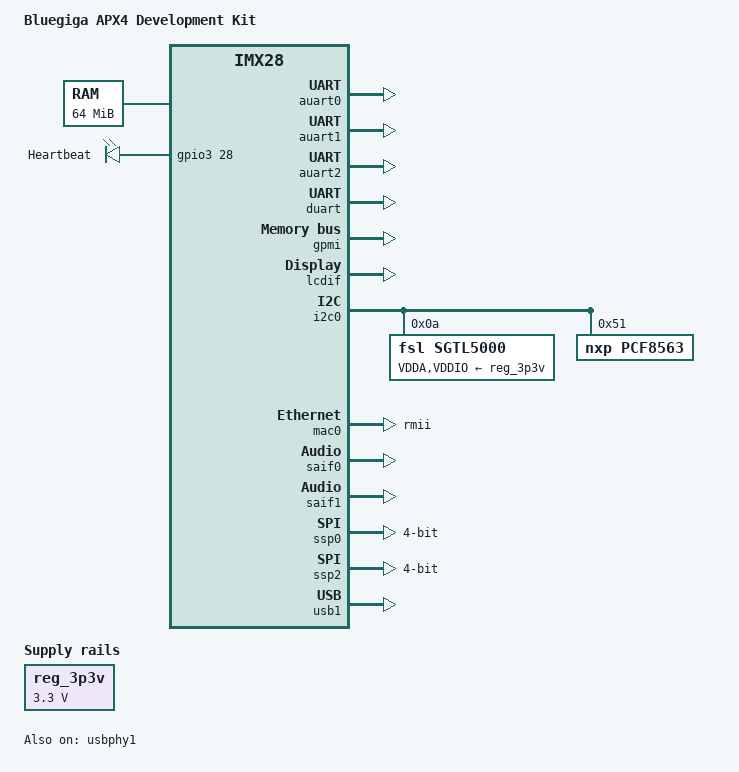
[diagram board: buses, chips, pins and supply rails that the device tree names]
// SPDX-License-Identifier: GPL-2.0
/dts-v1/;
#include "imx28.dtsi"

/ {
	model = "Bluegiga APX4 Development Kit";
	compatible = "bluegiga,apx4devkit", "fsl,imx28";

	memory@40000000 {
		device_type = "memory";
		reg = <0x40000000 0x04000000>;
	};


	reg_3p3v: regulator-3p3v {
		compatible = "regulator-fixed";
		regulator-name = "3P3V";
		regulator-min-microvolt = <3300000>;
		regulator-max-microvolt = <3300000>;
		regulator-always-on;
	};

	sound {
		compatible = "bluegiga,apx4devkit-sgtl5000",
			     "fsl,mxs-audio-sgtl5000";
		model = "apx4devkit-sgtl5000";
		saif-controllers = <&saif0 &saif1>;
		audio-codec = <&sgtl5000>;
	};

	leds {
		compatible = "gpio-leds";

		user {
			label = "Heartbeat";
			gpios = <&gpio3 28 0>;
			linux,default-trigger = "heartbeat";
		};
	};
};

&auart0 {
	pinctrl-names = "default";
	pinctrl-0 = <&auart0_pins_a>;
	status = "okay";
};

&auart1 {
	pinctrl-names = "default";
	pinctrl-0 = <&auart1_2pins_a>;
	status = "okay";
};

&auart2 {
	pinctrl-names = "default";
	pinctrl-0 = <&auart2_2pins_a>;
	status = "okay";
};

&duart {
	pinctrl-names = "default";
	pinctrl-0 = <&duart_pins_a>;
	status = "okay";
};

&gpmi {
	pinctrl-names = "default";
	pinctrl-0 = <&gpmi_pins_a &gpmi_status_cfg>;
	status = "okay";
};

&lcdif {
	pinctrl-names = "default";
	pinctrl-0 = <&lcdif_24bit_pins_a
		     &lcdif_pins_apx4>;
	display = <&display0>;
	status = "okay";

	display0: display0 {
		bits-per-pixel = <32>;
		bus-width = <24>;

		display-timings {
			native-mode = <&timing0>;
			timing0: timing0 {
				clock-frequency = <30000000>;
				hactive = <800>;
				vactive = <480>;
				hback-porch = <88>;
				hfront-porch = <40>;
				vback-porch = <32>;
				vfront-porch = <13>;
				hsync-len = <48>;
				vsync-len = <3>;
				hsync-active = <1>;
				vsync-active = <1>;
				de-active = <1>;
				pixelclk-active = <0>;
			};
		};
	};
};

&i2c0 {
	pinctrl-names = "default";
	pinctrl-0 = <&i2c0_pins_a>;
	status = "okay";

	sgtl5000: codec@a {
		compatible = "fsl,sgtl5000";
		reg = <0x0a>;
		#sound-dai-cells = <0>;
		VDDA-supply = <&reg_3p3v>;
		VDDIO-supply = <&reg_3p3v>;
		clocks = <&saif0>;
	};

	pcf8563: rtc@51 {
		compatible = "nxp,pcf8563";
		reg = <0x51>;
	};
};

&mac0 {
	phy-mode = "rmii";
	pinctrl-names = "default";
	pinctrl-0 = <&mac0_pins_a>;
	status = "okay";
};

&pinctrl {
	pinctrl-names = "default";
	pinctrl-0 = <&hog_pins_a>;

	hog_pins_a: hog@0 {
		reg = <0>;
		fsl,pinmux-ids = <
			MX28_PAD_GPMI_CE1N__GPIO_0_17
			MX28_PAD_GPMI_RDY1__GPIO_0_21
			MX28_PAD_SSP2_MISO__GPIO_2_18
			MX28_PAD_SSP2_SS0__AUART3_TX /* was: 0x2131 - MX28_PAD_SSP2_SS0__GPIO_2_19 */
			MX28_PAD_PWM3__GPIO_3_28
			MX28_PAD_LCD_RESET__GPIO_3_30
			MX28_PAD_JTAG_RTCK__GPIO_4_20
		>;
		fsl,drive-strength = <MXS_DRIVE_4mA>;
		fsl,voltage = <MXS_VOLTAGE_HIGH>;
		fsl,pull-up = <MXS_PULL_DISABLE>;
	};

	lcdif_pins_apx4: lcdif-apx4@0 {
		reg = <0>;
		fsl,pinmux-ids = <
			MX28_PAD_LCD_RD_E__LCD_VSYNC
			MX28_PAD_LCD_WR_RWN__LCD_HSYNC
			MX28_PAD_LCD_RS__LCD_DOTCLK
			MX28_PAD_LCD_CS__LCD_ENABLE
		>;
		fsl,drive-strength = <MXS_DRIVE_4mA>;
		fsl,voltage = <MXS_VOLTAGE_HIGH>;
		fsl,pull-up = <MXS_PULL_DISABLE>;
	};

	mmc2_4bit_pins_apx4: mmc2-4bit-apx4@0 {
		reg = <0>;
		fsl,pinmux-ids = <
			MX28_PAD_SSP0_DATA4__SSP2_D0
			MX28_PAD_SSP0_DATA5__SSP2_D3
			MX28_PAD_SSP0_DATA6__SSP2_CMD
			MX28_PAD_SSP0_DATA7__SSP2_SCK
			MX28_PAD_SSP2_SS1__SSP2_D1
			MX28_PAD_SSP2_SS2__SSP2_D2
		>;
		fsl,drive-strength = <MXS_DRIVE_8mA>;
		fsl,voltage = <MXS_VOLTAGE_HIGH>;
		fsl,pull-up = <MXS_PULL_ENABLE>;
	};

	mmc2_sck_cfg_apx4: mmc2-sck-cfg-apx4@0 {
		reg = <0>;
		fsl,pinmux-ids = <
			MX28_PAD_SSP0_DATA7__SSP2_SCK
		>;
		fsl,drive-strength = <MXS_DRIVE_12mA>;
		fsl,pull-up = <MXS_PULL_DISABLE>;
	};
};

&saif0 {
	pinctrl-names = "default";
	pinctrl-0 = <&saif0_pins_a>;
	status = "okay";
};

&saif1 {
	pinctrl-names = "default";
	pinctrl-0 = <&saif1_pins_a>;
	fsl,saif-master = <&saif0>;
	status = "okay";
};

&ssp0 {
	compatible = "fsl,imx28-mmc";
	pinctrl-names = "default";
	pinctrl-0 = <&mmc0_4bit_pins_a &mmc0_sck_cfg>;
	bus-width = <4>;
	status = "okay";
};

&ssp2 {
	compatible = "fsl,imx28-mmc";
	pinctrl-names = "default";
	pinctrl-0 = <&mmc2_4bit_pins_apx4 &mmc2_sck_cfg_apx4>;
	bus-width = <4>;
	status = "okay";
};

&usb1 {
      status = "okay";
};

&usbphy1 {
	pinctrl-names = "default";
	pinctrl-0 = <&usb1_pins_a>;
	status = "okay";
};
